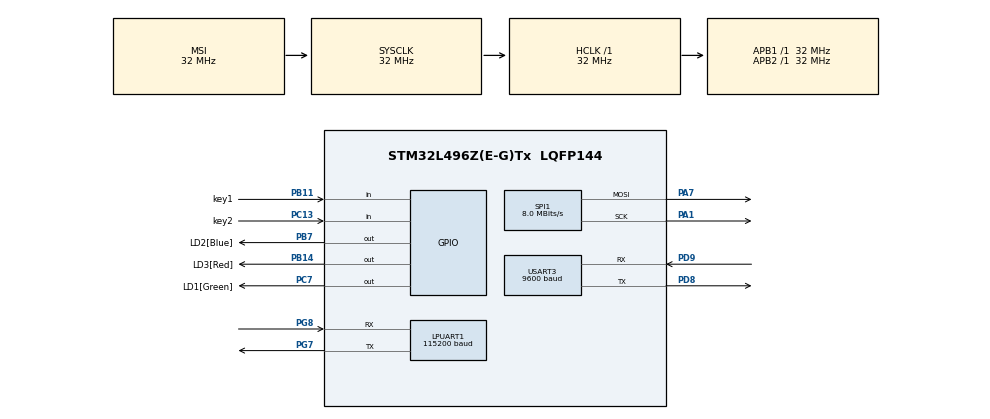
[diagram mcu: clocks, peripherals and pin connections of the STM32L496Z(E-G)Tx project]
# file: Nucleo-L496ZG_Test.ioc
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ADC1.AutoInjectedConv=DISABLE
ADC1.Channel-0\#ChannelRegularConversion=ADC_CHANNEL_TEMPSENSOR
ADC1.ContinuousConvMode=ENABLE
ADC1.DMAContinuousRequests=ENABLE
ADC1.InjectedDiscontinuousConvMode=DISABLE
ADC1.NbrOfConversion=1
ADC1.NbrOfConversionFlag=1
ADC1.OffsetNumber-0\#ChannelRegularConversion=ADC_OFFSET_NONE
ADC1.OversamplingMode=DISABLE
ADC1.Rank-0\#ChannelRegularConversion=1
ADC1.SamplingTime-0\#ChannelRegularConversion=ADC_SAMPLETIME_12CYCLES_5
ADC1.SingleDiff-0\#ChannelRegularConversion=ADC_SINGLE_ENDED
ADC1.master=1
Dma.ADC1.0.Direction=DMA_PERIPH_TO_MEMORY
Dma.ADC1.0.Instance=DMA1_Channel1
Dma.ADC1.0.MemDataAlignment=DMA_MDATAALIGN_HALFWORD
Dma.ADC1.0.MemInc=DMA_MINC_DISABLE
Dma.ADC1.0.Mode=DMA_NORMAL
Dma.ADC1.0.PeriphDataAlignment=DMA_PDATAALIGN_HALFWORD
Dma.ADC1.0.PeriphInc=DMA_PINC_DISABLE
Dma.ADC1.0.Priority=DMA_PRIORITY_MEDIUM
Dma.Request0=ADC1
Dma.Request1=SPI1_TX
Dma.SPI1_TX.1.Direction=DMA_MEMORY_TO_PERIPH
Dma.SPI1_TX.1.Instance=DMA1_Channel3
Dma.SPI1_TX.1.MemDataAlignment=DMA_MDATAALIGN_BYTE
Dma.SPI1_TX.1.MemInc=DMA_MINC_ENABLE
Dma.SPI1_TX.1.Mode=DMA_NORMAL
Dma.SPI1_TX.1.PeriphDataAlignment=DMA_PDATAALIGN_BYTE
Dma.SPI1_TX.1.PeriphInc=DMA_PINC_DISABLE
Dma.SPI1_TX.1.Priority=DMA_PRIORITY_LOW
LPUART1.BaudRate=115200
LPUART1.HwFlowCtl-Asynchronous=UART_HWCONTROL_NONE
LPUART1.Mode=UART_MODE_TX_RX
LPUART1.WordLength=UART_WORDLENGTH_8B
Mcu.Family=STM32L4
Mcu.Name=STM32L496Z(E-G)Tx
Mcu.Package=LQFP144
NVIC.DMA1_Channel1_IRQn=true\:0\:0\:false\:false\:true
NVIC.DMA1_Channel3_IRQn=true\:0\:0\:false\:false\:true
NVIC.PriorityGroup=NVIC_PRIORITYGROUP_4
NVIC.TIM6_DAC_IRQn=true\:2\:0\:true\:false\:true
NVIC.TIM7_IRQn=true\:3\:0\:true\:false\:true
NVIC.USART3_IRQn=true\:1\:0\:true\:false\:true
PA1.Mode=TX_Only_Simplex_Unidirect_Master
PA1.Signal=SPI1_SCK
PA13\ (JTMS/SWDIO).Mode=Serial_Wire
PA13\ (JTMS/SWDIO).Signal=SYS_JTMS-SWDIO
PA14\ (JTCK/SWCLK).Mode=Serial_Wire
PA14\ (JTCK/SWCLK).Signal=SYS_JTCK-SWCLK
PA7.Mode=TX_Only_Simplex_Unidirect_Master
PA7.Signal=SPI1_MOSI
PB11.GPIO_Label=key1
PB11.GPIO_PuPd=GPIO_PULLDOWN
PB11.Signal=GPIO_Input
PB14.GPIO_Label=LD3[Red]
PB14.GPIO_Speed=GPIO_SPEED_FREQ_VERY_HIGH
PB14.Signal=GPIO_Output
PB7.GPIO_FM7=I2C_FASTMODEPLUS_PB7
PB7.GPIO_Label=LD2[Blue]
PB7.GPIO_Speed=GPIO_SPEED_FREQ_VERY_HIGH
PB7.Signal=GPIO_Output
PC13.GPIO_Label=key2
PC13.GPIO_PuPd=GPIO_PULLDOWN
PC13.Signal=GPIO_Input
PC7.GPIO_Label=LD1[Green]
PC7.GPIO_Speed=GPIO_SPEED_FREQ_VERY_HIGH
PC7.Signal=GPIO_Output
PD8.Mode=Asynchronous
PD8.Signal=USART3_TX
PD9.Mode=Asynchronous
PD9.Signal=USART3_RX
PG7.Mode=Asynchronous
PG7.Signal=LPUART1_TX
PG8.Mode=Asynchronous
PG8.Signal=LPUART1_RX
ProjectManager.HeapSize=0x2500
ProjectManager.StackSize=0x2500
ProjectManager.TargetToolchain=MDK-ARM V5
RCC.ADCFreq_Value=64000000
RCC.AHBCLKDivider=RCC_SYSCLK_DIV1
RCC.AHBFreq_Value=32000000
RCC.APB1CLKDivider=RCC_HCLK_DIV1
RCC.APB1Freq_Value=32000000
RCC.APB1TimFreq_Value=32000000
RCC.APB2CLKDivider=RCC_HCLK_DIV1
RCC.APB2Freq_Value=32000000
RCC.APB2TimFreq_Value=32000000
RCC.ClockTypeHCLK=RCC_CLOCKTYPE_HCLK
RCC.ClockTypePCLK1=RCC_CLOCKTYPE_PCLK1
RCC.ClockTypePCLK2=RCC_CLOCKTYPE_PCLK2
RCC.ClockTypeSysClk=RCC_CLOCKTYPE_SYSCLK
RCC.CortexFreq_Value=32000000
RCC.Cortex_Div=SYSTICK_CLKSOURCE_HCLK
RCC.EnableCSSLSE=false
RCC.EnbaleCSS=false
RCC.HCLKFreq_Value=32000000
RCC.HSE_VALUE=8000000
RCC.HSI48_VALUE=48000000
RCC.HSI_VALUE=16000000
RCC.LSE_VALUE=32768
RCC.MSIClockRange=RCC_MSIRANGE_10
RCC.MSI_VALUE=32000000
RCC.PLLM=2
RCC.PLLN=40
RCC.PLLP=RCC_PLLP_DIV2
RCC.PLLQ=RCC_PLLQ_DIV2
RCC.PLLR=RCC_PLLR_DIV2
RCC.PLLSAI1P=RCC_PLLP_DIV2
RCC.PLLSAI1Q=RCC_PLLQ_DIV2
RCC.PLLSAI1R=RCC_PLLR_DIV2
RCC.PLLSAI2P=RCC_PLLP_DIV2
RCC.PLLSAI2R=RCC_PLLR_DIV2
RCC.RCC_MCODiv=RCC_MCODIV_1
RCC.SYSCLKFreq_VALUE=32000000
RCC.SYSCLKSource=RCC_SYSCLKSOURCE_MSI
RCC.USBFreq_Value=64000000
RCC.VCOOutputFreq_Value=640000000
SPI1.BaudRatePrescaler=SPI_BAUDRATEPRESCALER_4
SPI1.CLKPolarity=SPI_POLARITY_LOW
SPI1.CRCLength=SPI_CRC_LENGTH_DATASIZE
SPI1.CRCPolynomial=7
SPI1.CalculateBaudRate=8.0 MBits/s
SPI1.DataSize=SPI_DATASIZE_8BIT
SPI1.Direction=SPI_DIRECTION_2LINES
SPI1.Mode=SPI_MODE_MASTER
SPI1.VirtualType=VM_MASTER
TIM6.Period=999
TIM6.Prescaler=31
TIM6.TIM_MasterSlaveMode=TIM_MASTERSLAVEMODE_DISABLE
TIM7.Period=999
TIM7.Prescaler=31
TIM7.TIM_MasterSlaveMode=TIM_MASTERSLAVEMODE_DISABLE
USART3.BaudRate=9600
USART3.HwFlowCtl-Asynchronous=UART_HWCONTROL_NONE
USART3.VirtualMode-Asynchronous=VM_ASYNC
USART3.WordLength=WORDLENGTH_8B
VP_ADC1_TempSens_Input.Mode=IN-TempSens
VP_TIM6_VS_ClockSourceINT.Mode=Enable_Timer
VP_TIM7_VS_ClockSourceINT.Mode=Enable_Timer
board=Nucleo-L496ZG_Test

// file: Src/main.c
/**
  ******************************************************************************
  * File Name          : main.c
  * Description        : Main program body
  ******************************************************************************
  *
  * COPYRIGHT(c) 2017 STMicroelectronics
  *
  * Redistribution and use in source and binary forms, with or without modification,
  * are permitted provided that the following conditions are met:
  *   1. Redistributions of source code must retain the above copyright notice,
  *      this list of conditions and the following disclaimer.
  *   2. Redistributions in binary form must reproduce the above copyright notice,
  *      this list of conditions and the following disclaimer in the documentation
  *      and/or other materials provided with the distribution.
  *   3. Neither the name of STMicroelectronics nor the names of its contributors
  *      may be used to endorse or promote products derived from this software
  *      without specific prior written permission.
  *
  * THIS SOFTWARE IS PROVIDED BY THE COPYRIGHT HOLDERS AND CONTRIBUTORS "AS IS"
  * AND ANY EXPRESS OR IMPLIED WARRANTIES, INCLUDING, BUT NOT LIMITED TO, THE
  * IMPLIED WARRANTIES OF MERCHANTABILITY AND FITNESS FOR A PARTICULAR PURPOSE ARE
  * DISCLAIMED. IN NO EVENT SHALL THE COPYRIGHT HOLDER OR CONTRIBUTORS BE LIABLE
  * FOR ANY DIRECT, INDIRECT, INCIDENTAL, SPECIAL, EXEMPLARY, OR CONSEQUENTIAL
  * DAMAGES (INCLUDING, BUT NOT LIMITED TO, PROCUREMENT OF SUBSTITUTE GOODS OR
  * SERVICES; LOSS OF USE, DATA, OR PROFITS; OR BUSINESS INTERRUPTION) HOWEVER
  * CAUSED AND ON ANY THEORY OF LIABILITY, WHETHER IN CONTRACT, STRICT LIABILITY,
  * OR TORT (INCLUDING NEGLIGENCE OR OTHERWISE) ARISING IN ANY WAY OUT OF THE USE
  * OF THIS SOFTWARE, EVEN IF ADVISED OF THE POSSIBILITY OF SUCH DAMAGE.
  *
  ******************************************************************************
  */
#include "main.h"
#include "stm32l4xx_hal.h"
#include "adc.h"
#include "dma.h"
#include "usart.h"
#include "spi.h"
#include "tim.h"
#include "gpio.h"

/* USER CODE BEGIN Includes */
/**
************************************************************
* @file         main.c
* @brief        MCU版 入口文件
* @author       bigfanofloT
* @date         2017-3-21
* @version      V03010101
* @copyright    Gizwits
*
* @note         机智云.只为智能硬件而生
*               Gizwits Smart Cloud  for Smart Products
*               链接|增值?|开放|中立|安全|自有|自由|生态
*               www.gizwits.com
*
***********************************************************/

#include "Adafruit_NeoPixel.h"
#include "gizwits_protocol.h"
#include "gizwits_product.h"
#include "hal_key.h"

/* USER CODE END Includes */

/* USER CODE BEGIN PV */
/* Private variables ---------------------------------------------------------*/

#define TEMP_REFRESH_PERIOD   1000    /* Internal temperature refresh period */
#define MAX_CONVERTED_VALUE   4095    /* Max converted value */
#define AMBIENT_TEMP            25    /* Ambient Temperature */
#define VSENS_AT_AMBIENT_TEMP  760    /* VSENSE value (mv) at ambient temperature */
#define AVG_SLOPE               25    /* Avg_Solpe multiply by 10 */
#define VREF                  3300
/* Variable used to get converted value */
uint32_t ConvertedValue = 0;
int32_t JTemp = 0;

/** 用户区当前设备状态结构体*/
dataPoint_t currentDataPoint;

/**@name 按键相关定义
* @{
*/
#define GPIO_KEY_NUM 2                                  ///< 定义按键成员总数
keyTypedef_t singleKey[GPIO_KEY_NUM];                   ///< 定义单个按键成员数组指针
keysTypedef_t keys;                                     ///< 定义总的按键模块结构体指针

/* USER CODE END PV */

void SystemClock_Config(void);
void Error_Handler(void);

/* USER CODE BEGIN PFP */
/* Private function prototypes -----------------------------------------------*/

/* USER CODE END PFP */

/* USER CODE BEGIN 0 */
/**
* 用户初始化函数

* 在该函数中完成了外设驱动初始化以及用户相关数据的初始
* @param none
* @return none
* @note 开发者可在此函数内添加新的驱动初始及状态初始化
*/
void userInit(void)
{
	  WS2812B_Init();
    memset((uint8_t*)&currentDataPoint, 0, sizeof(dataPoint_t));
}
/**
* 用户数据获取

* 此处需要用户实现除可写数据点之外所有传感器数据的采集,可自行定义采集频率和设计数据过滤算法
* @param none
* @return none
*/
#define  SAMPLING_TIME_MAX  1000
void userHandle(void)
{
	    /*
    currentDataPoint.valueChipTemp = ;//Add Sensor Data Collection
    currentDataPoint.valueFault_LED = ;//Add Sensor Data Collection

    */
  static uint32_t thLastTimer = 0;

    if((gizGetTimerCount()-thLastTimer) > SAMPLING_TIME_MAX)
    {
      JTemp = ((float)((((float)ConvertedValue * VREF)/MAX_CONVERTED_VALUE) - VSENS_AT_AMBIENT_TEMP) * 10 / AVG_SLOPE) + AMBIENT_TEMP;
      //printf("Jtemp=%d\r\n",JTemp);
      currentDataPoint.valueChipTemp = JTemp;//Add Sensor Data Collection
      currentDataPoint.valueFault_LED = 0;//Add Sensor Data Collection
      thLastTimer = gizGetTimerCount();
    }
}

/**
* key1按键短按处理
* @param none
* @return none
*/
void key1ShortPress(void)
{
    printf("KEY1 PRESS ,Production Mode\n");
    gizwitsSetMode(WIFI_PRODUCTION_TEST);
}

/**
* key1按键长按处理
* @param none
* @return none
*/
void key1LongPress(void)
{
    printf("KEY1 PRESS LONG ,Wifi Reset\n");
    gizwitsSetMode(WIFI_RESET_MODE);

}

/**
* key2按键短按处理
* @param none
* @return none
*/
void key2ShortPress(void)
{
    printf("KEY2 PRESS ,Soft AP mode\n");
    LD3_ON();
    gizwitsSetMode(WIFI_SOFTAP_MODE);
}

/**
* key2按键长按处理
* @param none
* @return none
*/
void key2LongPress(void)
{
    //AirLink mode
    printf("KEY2 PRESS LONG ,AirLink mode\n");
     LD1_ON();//Nucleo-L496ZG板载绿色LED1亮表示进入AirLink配网模式，连接路由器后熄灭
    gizwitsSetMode(WIFI_AIRLINK_MODE);
}

/**
* 按键初始化
* @param none
* @return none
*/
void keyInit(void)
{
    singleKey[0] = keyInitOne(key1_GPIO_Port, key1_Pin, key1ShortPress, key1LongPress);
    singleKey[1] = keyInitOne(key2_GPIO_Port, key2_Pin, key2ShortPress, key2LongPress);
    keys.singleKey = (keyTypedef_t *)&singleKey;
    keyParaInit(&keys);
}

/* USER CODE END 0 */

int main(void)
{

  /* MCU Configuration----------------------------------------------------------*/

  /* Reset of all peripherals, Initializes the Flash interface and the Systick. */
  HAL_Init();

  /* Configure the system clock */
  SystemClock_Config();

  /* Initialize all configured peripherals */
  MX_GPIO_Init();
  MX_DMA_Init();
  MX_LPUART1_UART_Init();
  MX_ADC1_Init();
  MX_TIM6_Init();
  MX_TIM7_Init();
  MX_USART3_UART_Init();
  MX_SPI1_Init();

  /* USER CODE BEGIN 2 */

  if(HAL_ADC_Start_DMA(&hadc1,  &ConvertedValue, 1)!=HAL_OK)
  {
    Error_Handler();
  }

  userInit();
  keyInit();

  timerInit();
  uartInit();

  gizwitsInit();

  printf("MCU Init Success \n");

  /* USER CODE END 2 */

  /* Infinite loop */
  while (1)
  {

  /* USER CODE BEGIN 3 */

    userHandle();

    gizwitsHandle((dataPoint_t *)&currentDataPoint);

  }
  /* USER CODE END 3 */

}

/** System Clock Configuration
*/
void SystemClock_Config(void)
{

  RCC_OscInitTypeDef RCC_OscInitStruct;
  RCC_ClkInitTypeDef RCC_ClkInitStruct;
  RCC_PeriphCLKInitTypeDef PeriphClkInit;

    /**Initializes the CPU, AHB and APB busses clocks
    */
  RCC_OscInitStruct.OscillatorType = RCC_OSCILLATORTYPE_MSI;
  RCC_OscInitStruct.MSIState = RCC_MSI_ON;
  RCC_OscInitStruct.MSICalibrationValue = 0;
  RCC_OscInitStruct.MSIClockRange = RCC_MSIRANGE_10;
  RCC_OscInitStruct.PLL.PLLState = RCC_PLL_NONE;
  if (HAL_RCC_OscConfig(&RCC_OscInitStruct) != HAL_OK)
  {
    Error_Handler();
  }

    /**Initializes the CPU, AHB and APB busses clocks
    */
  RCC_ClkInitStruct.ClockType = RCC_CLOCKTYPE_HCLK|RCC_CLOCKTYPE_SYSCLK
                              |RCC_CLOCKTYPE_PCLK1|RCC_CLOCKTYPE_PCLK2;
  RCC_ClkInitStruct.SYSCLKSource = RCC_SYSCLKSOURCE_MSI;
  RCC_ClkInitStruct.AHBCLKDivider = RCC_SYSCLK_DIV1;
  RCC_ClkInitStruct.APB1CLKDivider = RCC_HCLK_DIV1;
  RCC_ClkInitStruct.APB2CLKDivider = RCC_HCLK_DIV1;

  if (HAL_RCC_ClockConfig(&RCC_ClkInitStruct, FLASH_LATENCY_1) != HAL_OK)
  {
    Error_Handler();
  }

  PeriphClkInit.PeriphClockSelection = RCC_PERIPHCLK_USART3|RCC_PERIPHCLK_LPUART1
                              |RCC_PERIPHCLK_ADC;
  PeriphClkInit.Usart3ClockSelection = RCC_USART3CLKSOURCE_PCLK1;
  PeriphClkInit.Lpuart1ClockSelection = RCC_LPUART1CLKSOURCE_PCLK1;
  PeriphClkInit.AdcClockSelection = RCC_ADCCLKSOURCE_PLLSAI1;
  PeriphClkInit.PLLSAI1.PLLSAI1Source = RCC_PLLSOURCE_MSI;
  PeriphClkInit.PLLSAI1.PLLSAI1M = 2;
  PeriphClkInit.PLLSAI1.PLLSAI1N = 8;
  PeriphClkInit.PLLSAI1.PLLSAI1P = RCC_PLLP_DIV2;
  PeriphClkInit.PLLSAI1.PLLSAI1Q = RCC_PLLQ_DIV2;
  PeriphClkInit.PLLSAI1.PLLSAI1R = RCC_PLLR_DIV2;
  PeriphClkInit.PLLSAI1.PLLSAI1ClockOut = RCC_PLLSAI1_ADC1CLK;
  if (HAL_RCCEx_PeriphCLKConfig(&PeriphClkInit) != HAL_OK)
  {
    Error_Handler();
  }

    /**Configure the main internal regulator output voltage
    */
  if (HAL_PWREx_ControlVoltageScaling(PWR_REGULATOR_VOLTAGE_SCALE1) != HAL_OK)
  {
    Error_Handler();
  }

    /**Configure the Systick interrupt time
    */
  HAL_SYSTICK_Config(HAL_RCC_GetHCLKFreq()/1000);

    /**Configure the Systick
    */
  HAL_SYSTICK_CLKSourceConfig(SYSTICK_CLKSOURCE_HCLK);

  /* SysTick_IRQn interrupt configuration */
  HAL_NVIC_SetPriority(SysTick_IRQn, 0, 0);
}

void Error_Handler(void)
{
  while(1)
  {
  }
}

/************************ (C) COPYRIGHT STMicroelectronics *****END OF FILE****/
